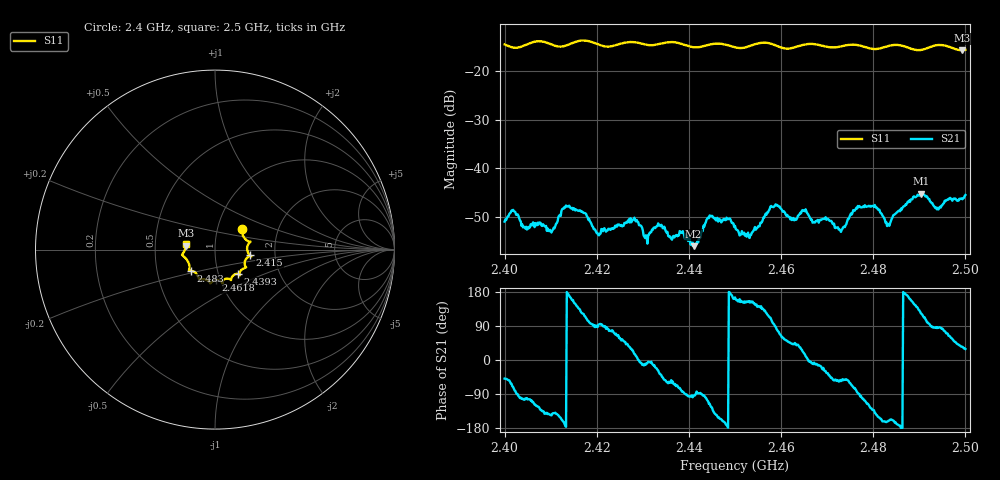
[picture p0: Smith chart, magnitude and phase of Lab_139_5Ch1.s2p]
# Hz S RI R
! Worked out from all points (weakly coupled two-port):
!   601 points, 2.4 GHz to 2.5 GHz, reference 50 ohm
!   highest |S21| = -45.17 dB at 2.4903 GHz (marker M1); lowest = -56.0 dB at 2.441 GHz (marker M2)
!   lowest |S11| = -15.7 dB at 2.4993 GHz (marker M3), VSWR 1.39, Z = 36 + j1.56 ohm
!   |S11| at or under -10 dB: start of sweep to end of sweep
!   S12 and S22 are empty: the file has one direction only
!   S11 on the Smith chart (normalised r, x): 2.4 GHz: 1.31, +0.31; 2.415 GHz: 1.48, -0.10; 2.4393 GHz: 1.23, -0.35; 2.4618 GHz: 0.95, -0.33; 2.483 GHz: 0.74, -0.18; 2.5 GHz: 0.72, +0.05
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2.4e9  0.1504 0.1133  0.00186 -0.00215  0 0  0 0
2.41e9  0.1868 0.032  -0.00185 -0.00129  0 0  0 0
2.415e9  0.1944 -0.032  -0.00347 0.0018  0 0  0 0
2.416667e9  0.2031 -0.0378  -0.00205 0.00293  0 0  0 0
2.420333e9  0.1838 -0.0415  -0.000112 0.00207  0 0  0 0
2.433333e9  0.1366 -0.1313  0.00241 -0.00128  0 0  0 0
2.439333e9  0.1255 -0.1353  -4.3e-05 -0.0021  0 0  0 0
2.441e9  0.1097 -0.138  -0.000132 -0.00158  0 0  0 0
2.4445e9  0.0891 -0.1651  -0.00141 -0.00297  0 0  0 0
2.45e9  0.0695 -0.1619  -0.00248 0.000655  0 0  0 0
2.453e9  0.0421 -0.1749  -0.00179 0.000818  0 0  0 0
2.458833e9  0.0382 -0.18  0.000168 0.00427  0 0  0 0
2.461833e9  0.00415 -0.1709  0.0022 0.00228  0 0  0 0
2.466667e9  -0.0262 -0.1889  0.00294 -0.000462  0 0  0 0
2.473e9  -0.0718 -0.1647  0.00126 -0.00184  0 0  0 0
2.479833e9  -0.1045 -0.1336  -0.00276 -0.00307  0 0  0 0
2.483e9  -0.1359 -0.1182  -0.00244 -0.000764  0 0  0 0
2.483333e9  -0.1385 -0.1178  -0.00251 -0.000908  0 0  0 0
2.490333e9  -0.1526 -0.0627  -0.00302 0.00462  0 0  0 0
2.493833e9  -0.1825 -0.0313  0.000389 0.00377  0 0  0 0
2.499333e9  -0.163 0.0211  0.00395 0.00276  0 0  0 0
2.5e9  -0.163 0.0328  0.00466 0.0026  0 0  0 0
